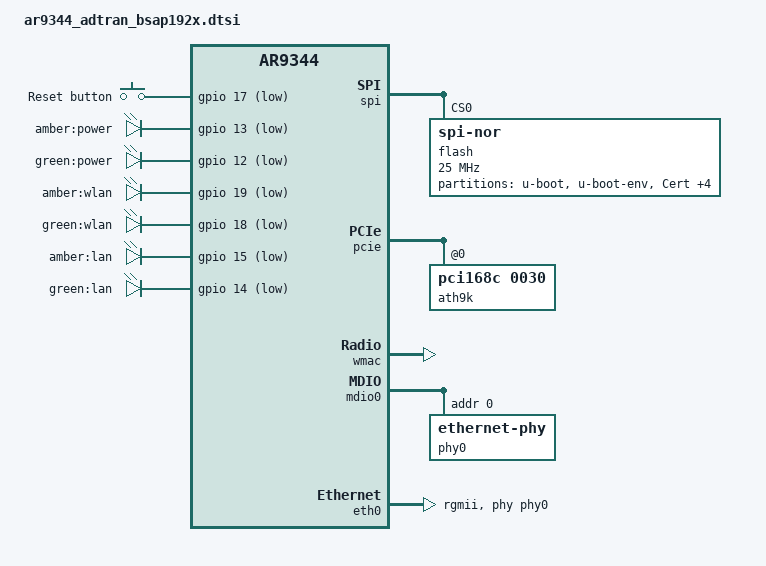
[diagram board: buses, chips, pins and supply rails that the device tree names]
// SPDX-License-Identifier: GPL-2.0-or-later OR MIT

#include "ar9344.dtsi"

#include <dt-bindings/gpio/gpio.h>
#include <dt-bindings/input/input.h>

/ {
	aliases {
		label-mac-device = &eth0;
		led-boot = &led_power_amber;
		led-failsafe = &led_power_amber;
		led-running = &led_power_green;
		led-upgrade = &led_power_amber;
	};

	chosen {
		/delete-property/ bootargs;
		bootargs-append = "root=";
	};

	keys {
		compatible = "gpio-keys";

		pinctrl-names = "default";
		pinctrl-0 = <&jtag_disable_pins>;

		reset {
			label = "Reset button";
			linux,code = <KEY_RESTART>;
			gpios = <&gpio 17 GPIO_ACTIVE_LOW>;
			debounce-interval = <60>;
		};
	};

	leds {
		compatible = "gpio-leds";

		led_power_amber: power_amber {
			label = "amber:power";
			gpios = <&gpio 13 GPIO_ACTIVE_LOW>;
		};

		led_power_green: power_green {
			label = "green:power";
			gpios = <&gpio 12 GPIO_ACTIVE_LOW>;
			default-state = "on";
		};

		wlan_amber {
			label = "amber:wlan";
			gpios = <&gpio 19 GPIO_ACTIVE_LOW>;
			linux,default-trigger = "phy1tpt";
		};

		wlan_green {
			label = "green:wlan";
			gpios = <&gpio 18 GPIO_ACTIVE_LOW>;
			linux,default-trigger = "phy0tpt";
		};

		lan_amber {
			label = "amber:lan";
			gpios = <&gpio 15 GPIO_ACTIVE_LOW>;
		};

		lan_green {
			label = "green:lan";
			gpios = <&gpio 14 GPIO_ACTIVE_LOW>;
		};
	};
};

&ref {
	clock-frequency = <25000000>;
};

&spi {
	status = "okay";

	flash@0 {
		compatible = "jedec,spi-nor";
		reg = <0>;
		spi-max-frequency = <25000000>;

		partitions {
			compatible = "fixed-partitions";
			#address-cells = <1>;
			#size-cells = <1>;

			uboot: partition@0 {
				label = "u-boot";
				reg = <0x0000000 0x0040000>;
				read-only;
			};

			partition@40000 {
				label = "u-boot-env";
				reg = <0x0040000 0x0010000>;
			};

			partition@50000 {
				label = "Cert";
				reg = <0x0050000 0x0040000>;
				read-only;
			};

			partition@90000 {
				label = "Kdump";
				reg = <0x0090000 0x0170000>;
				read-only;
			};

			partition@300000 {
				compatible = "denx,uimage";
				label = "firmware";
				reg = <0x0300000 0x1ce0000>;
			};

			senao: partition@1fe0000 {
				label = "SENAO";
				reg = <0x1fe0000 0x0010000>;
				read-only;
			};

			art: partition@1ff0000 {
				label = "art";
				reg = <0x1ff0000 0x0010000>;
				read-only;
			};
		};
	};
};

&pcie {
	status = "okay";

	ath9k: wifi@0,0 {
		compatible = "pci168c,0030";
		reg = <0x0000 0 0 0 0>;
		nvmem-cells = <&macaddr_senao_0>;
		nvmem-cell-names = "mac-address";
		mac-address-increment = <(1)>;
		mtd-cal-data = <&art 0x5000>;
		qca,no-eeprom;
		ieee80211-freq-limit = <2402000 2482000>;
		#gpio-cells = <2>;
		gpio-controller;
	};
};

&wmac {
	status = "okay";

	ieee80211-freq-limit = <4900000 5990000>;
	mtd-cal-data = <&art 0x1000>;
	nvmem-cells = <&macaddr_senao_0>;
	nvmem-cell-names = "mac-address";
	mac-address-increment = <9>;
};

&mdio0 {
	status = "okay";

	phy-mask = <0>;

	phy0: ethernet-phy@0 {
		reg = <0>;
		phy-mode = "rgmii";
	};
};

&eth0 {
	status = "okay";

	/* default for ar934x, except for 1000M */
	pll-data = <0x06000000 0x00000101 0x00001616>;

	nvmem-cells = <&macaddr_senao_0>;
	nvmem-cell-names = "mac-address";

	phy-mode = "rgmii";
	phy-handle = <&phy0>;
};

&senao {
	compatible = "nvmem-cells";
	#address-cells = <1>;
	#size-cells = <1>;

	macaddr_senao_0: macaddr@0 {
		reg = <0x18 0x6>;
	};
};
